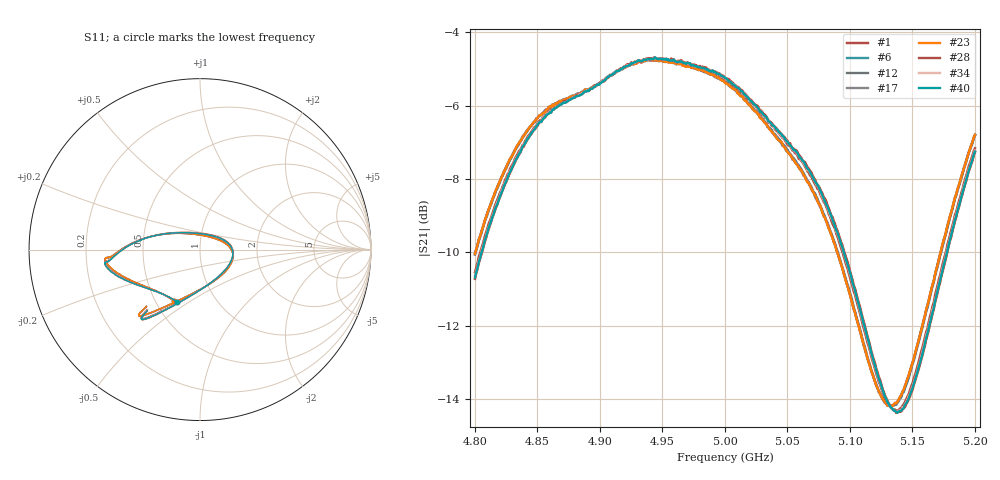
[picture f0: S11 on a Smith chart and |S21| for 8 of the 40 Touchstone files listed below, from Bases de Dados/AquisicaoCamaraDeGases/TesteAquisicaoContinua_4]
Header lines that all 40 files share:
! Network Analyzer HP8722D
! Hewlett-Packard
! Data name: Linha & Wilkinson
! Saver's name: Rodrigo Anjos
! Comments: Teste da utilização de aquisição
! continua pelo VNA HP8722D
!  Frequency  S11  S21  S12  S22
# HZ  S  MA R 50
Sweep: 4.8 GHz to 5.2 GHz
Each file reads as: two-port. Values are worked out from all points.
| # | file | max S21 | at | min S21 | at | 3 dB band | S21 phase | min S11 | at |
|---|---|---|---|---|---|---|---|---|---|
| 1 | teste_arseco&borbulhador_Acetona_10-80_280.S2P | -4.69 dB | 4.943 GHz | -14.4 dB | 5.137 GHz | 4.83 GHz-5.066 GHz | -111 deg at 5 GHz | -20.5 dB | 5.004 GHz |
| 2 | teste_arseco&borbulhador_Acetona_10-80_281.S2P | -4.68 dB | 4.945 GHz | -14.4 dB | 5.137 GHz | 4.831 GHz-5.066 GHz | -111 deg at 5 GHz | -20.5 dB | 5.005 GHz |
| 3 | teste_arseco&borbulhador_Acetona_10-80_282.S2P | -4.67 dB | 4.944 GHz | -14.4 dB | 5.138 GHz | 4.831 GHz-5.066 GHz | -111 deg at 5 GHz | -20.5 dB | 5.005 GHz |
| 4 | teste_arseco&borbulhador_Acetona_10-80_283.S2P | -4.71 dB | 4.944 GHz | -14.3 dB | 5.137 GHz | 4.827 GHz-5.063 GHz | -113 deg at 5 GHz | -20.8 dB | 5.004 GHz |
| 5 | teste_arseco&borbulhador_Acetona_10-80_284.S2P | -4.74 dB | 4.94 GHz | -14.2 dB | 5.134 GHz | 4.825 GHz-5.061 GHz | -113 deg at 5 GHz | -21.2 dB | 5.002 GHz |
| 6 | teste_arseco&borbulhador_Acetona_10-80_285.S2P | -4.74 dB | 4.944 GHz | -14.2 dB | 5.133 GHz | 4.825 GHz-5.061 GHz | -113 deg at 5 GHz | -21.3 dB | 5.002 GHz |
| 7 | teste_arseco&borbulhador_Acetona_10-80_286.S2P | -4.74 dB | 4.944 GHz | -14.2 dB | 5.134 GHz | 4.824 GHz-5.061 GHz | -113 deg at 5 GHz | -21.5 dB | 5.002 GHz |
| 8 | teste_arseco&borbulhador_Acetona_10-80_287.S2P | -4.73 dB | 4.946 GHz | -14.2 dB | 5.133 GHz | 4.825 GHz-5.059 GHz | -113 deg at 5 GHz | -21.5 dB | 5.001 GHz |
| 9 | teste_arseco&borbulhador_Acetona_10-80_288.S2P | -4.73 dB | 4.944 GHz | -14.2 dB | 5.133 GHz | 4.825 GHz-5.06 GHz | -113 deg at 5 GHz | -21.5 dB | 5.002 GHz |
| 10 | teste_arseco&borbulhador_Acetona_10-80_289.S2P | -4.74 dB | 4.943 GHz | -14.2 dB | 5.133 GHz | 4.824 GHz-5.059 GHz | -113 deg at 5 GHz | -21.5 dB | 5.001 GHz |
| 11 | teste_arseco&borbulhador_Acetona_10-80_290.S2P | -4.75 dB | 4.943 GHz | -14.2 dB | 5.133 GHz | 4.825 GHz-5.06 GHz | -113 deg at 5 GHz | -21.5 dB | 5.001 GHz |
| 12 | teste_arseco&borbulhador_Acetona_10-80_291.S2P | -4.74 dB | 4.939 GHz | -14.2 dB | 5.134 GHz | 4.824 GHz-5.06 GHz | -113 deg at 5 GHz | -21.5 dB | 5.001 GHz |
| 13 | teste_arseco&borbulhador_Acetona_10-80_292.S2P | -4.74 dB | 4.942 GHz | -14.2 dB | 5.133 GHz | 4.824 GHz-5.06 GHz | -113 deg at 5 GHz | -21.5 dB | 5.002 GHz |
| 14 | teste_arseco&borbulhador_Acetona_10-80_293.S2P | -4.75 dB | 4.937 GHz | -14.2 dB | 5.133 GHz | 4.824 GHz-5.06 GHz | -113 deg at 5 GHz | -21.5 dB | 5.001 GHz |
| 15 | teste_arseco&borbulhador_Acetona_10-80_294.S2P | -4.75 dB | 4.938 GHz | -14.2 dB | 5.132 GHz | 4.824 GHz-5.06 GHz | -113 deg at 5 GHz | -21.5 dB | 5.001 GHz |
| 16 | teste_arseco&borbulhador_Acetona_10-80_295.S2P | -4.74 dB | 4.941 GHz | -14.2 dB | 5.132 GHz | 4.825 GHz-5.06 GHz | -113 deg at 5 GHz | -21.5 dB | 5.001 GHz |
| 17 | teste_arseco&borbulhador_Acetona_10-80_296.S2P | -4.75 dB | 4.943 GHz | -14.2 dB | 5.134 GHz | 4.824 GHz-5.06 GHz | -113 deg at 5 GHz | -21.5 dB | 5.002 GHz |
| 18 | teste_arseco&borbulhador_Acetona_10-80_297.S2P | -4.75 dB | 4.939 GHz | -14.2 dB | 5.133 GHz | 4.824 GHz-5.06 GHz | -113 deg at 5 GHz | -21.5 dB | 5.001 GHz |
| 19 | teste_arseco&borbulhador_Acetona_10-80_298.S2P | -4.74 dB | 4.944 GHz | -14.2 dB | 5.132 GHz | 4.825 GHz-5.06 GHz | -113 deg at 5 GHz | -21.5 dB | 5.001 GHz |
| 20 | teste_arseco&borbulhador_Acetona_10-80_299.S2P | -4.73 dB | 4.944 GHz | -14.2 dB | 5.131 GHz | 4.825 GHz-5.059 GHz | -113 deg at 5 GHz | -21.5 dB | 5.001 GHz |
| 21 | teste_arseco&borbulhador_Acetona_10-80_300.S2P | -4.74 dB | 4.944 GHz | -14.2 dB | 5.134 GHz | 4.824 GHz-5.06 GHz | -113 deg at 5 GHz | -21.5 dB | 5.002 GHz |
| 22 | teste_arseco&borbulhador_Acetona_10-80_301.S2P | -4.74 dB | 4.945 GHz | -14.2 dB | 5.134 GHz | 4.825 GHz-5.059 GHz | -113 deg at 5 GHz | -21.5 dB | 5 GHz |
| 23 | teste_arseco&borbulhador_Acetona_10-80_302.S2P | -4.73 dB | 4.938 GHz | -14.2 dB | 5.134 GHz | 4.825 GHz-5.059 GHz | -113 deg at 5 GHz | -21.5 dB | 5.001 GHz |
| 24 | teste_arseco&borbulhador_Acetona_10-80_303.S2P | -4.73 dB | 4.944 GHz | -14.3 dB | 5.134 GHz | 4.827 GHz-5.062 GHz | -112 deg at 5 GHz | -21.3 dB | 5.002 GHz |
| 25 | teste_arseco&borbulhador_Acetona_10-80_304.S2P | -4.73 dB | 4.939 GHz | -14.3 dB | 5.135 GHz | 4.828 GHz-5.063 GHz | -112 deg at 5 GHz | -21.1 dB | 5.004 GHz |
| 26 | teste_arseco&borbulhador_Acetona_10-80_305.S2P | -4.71 dB | 4.944 GHz | -14.3 dB | 5.137 GHz | 4.828 GHz-5.064 GHz | -112 deg at 5 GHz | -21.0 dB | 5.004 GHz |
| 27 | teste_arseco&borbulhador_Acetona_10-80_306.S2P | -4.71 dB | 4.938 GHz | -14.3 dB | 5.138 GHz | 4.829 GHz-5.064 GHz | -112 deg at 5 GHz | -20.9 dB | 5.004 GHz |
| 28 | teste_arseco&borbulhador_Acetona_10-80_307.S2P | -4.71 dB | 4.945 GHz | -14.3 dB | 5.137 GHz | 4.829 GHz-5.064 GHz | -112 deg at 5 GHz | -20.8 dB | 5.005 GHz |
| 29 | teste_arseco&borbulhador_Acetona_10-80_308.S2P | -4.71 dB | 4.944 GHz | -14.3 dB | 5.137 GHz | 4.829 GHz-5.064 GHz | -112 deg at 5 GHz | -20.8 dB | 5.005 GHz |
| 30 | teste_arseco&borbulhador_Acetona_10-80_309.S2P | -4.71 dB | 4.944 GHz | -14.3 dB | 5.137 GHz | 4.829 GHz-5.065 GHz | -112 deg at 5 GHz | -20.8 dB | 5.004 GHz |
| 31 | teste_arseco&borbulhador_Acetona_10-80_310.S2P | -4.70 dB | 4.941 GHz | -14.3 dB | 5.137 GHz | 4.829 GHz-5.064 GHz | -111 deg at 5 GHz | -20.7 dB | 5.004 GHz |
| 32 | teste_arseco&borbulhador_Acetona_10-80_311.S2P | -4.70 dB | 4.941 GHz | -14.4 dB | 5.137 GHz | 4.83 GHz-5.065 GHz | -112 deg at 5 GHz | -20.7 dB | 5.005 GHz |
| 33 | teste_arseco&borbulhador_Acetona_10-80_312.S2P | -4.70 dB | 4.944 GHz | -14.4 dB | 5.137 GHz | 4.83 GHz-5.065 GHz | -112 deg at 5 GHz | -20.7 dB | 5.004 GHz |
| 34 | teste_arseco&borbulhador_Acetona_10-80_313.S2P | -4.71 dB | 4.945 GHz | -14.4 dB | 5.137 GHz | 4.83 GHz-5.065 GHz | -112 deg at 5 GHz | -20.7 dB | 5.004 GHz |
| 35 | teste_arseco&borbulhador_Acetona_10-80_314.S2P | -4.70 dB | 4.944 GHz | -14.4 dB | 5.138 GHz | 4.83 GHz-5.065 GHz | -111 deg at 5 GHz | -20.7 dB | 5.005 GHz |
| 36 | teste_arseco&borbulhador_Acetona_10-80_315.S2P | -4.71 dB | 4.949 GHz | -14.4 dB | 5.138 GHz | 4.83 GHz-5.065 GHz | -111 deg at 5 GHz | -20.7 dB | 5.004 GHz |
| 37 | teste_arseco&borbulhador_Acetona_10-80_316.S2P | -4.69 dB | 4.944 GHz | -14.4 dB | 5.137 GHz | 4.83 GHz-5.065 GHz | -111 deg at 5 GHz | -20.7 dB | 5.004 GHz |
| 38 | teste_arseco&borbulhador_Acetona_10-80_317.S2P | -4.69 dB | 4.944 GHz | -14.4 dB | 5.138 GHz | 4.83 GHz-5.065 GHz | -111 deg at 5 GHz | -20.6 dB | 5.005 GHz |
| 39 | teste_arseco&borbulhador_Acetona_10-80_318.S2P | -4.70 dB | 4.944 GHz | -14.4 dB | 5.138 GHz | 4.83 GHz-5.065 GHz | -111 deg at 5 GHz | -20.6 dB | 5.004 GHz |
| 40 | teste_arseco&borbulhador_Acetona_10-80_319.S2P | -4.68 dB | 4.944 GHz | -14.4 dB | 5.138 GHz | 4.83 GHz-5.065 GHz | -111 deg at 5 GHz | -20.7 dB | 5.005 GHz |
